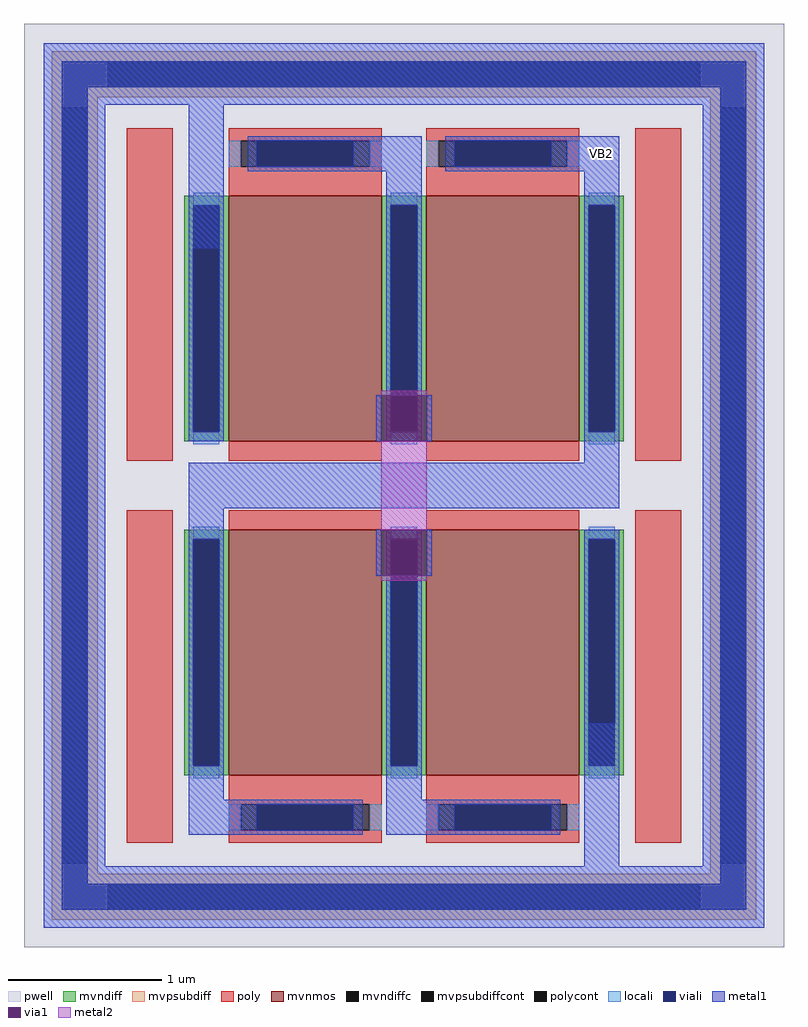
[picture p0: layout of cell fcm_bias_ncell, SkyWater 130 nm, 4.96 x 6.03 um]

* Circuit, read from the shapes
.subckt fcm_bias_ncell VB2
XM1 n1 VB2 VB2 VSUBS sky130_fd_pr__nfet_g5v0d10v5 w=1.6 l=1 m=2
XM2 n1 n1 VSUBS VSUBS sky130_fd_pr__nfet_g5v0d10v5 w=1.6 l=1 m=2
.ends

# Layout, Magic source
magic
tech sky130A
magscale 1 2
<< pwell >>
rect -36 -571 956 635
<< mvpsubdiffcont >>
rect 73 552 847 586
rect 13 -462 47 526
rect 873 -462 907 526
rect 73 -522 847 -488
<< viali >>
rect 13 552 73 586
rect 73 552 847 586
rect 847 552 907 586
rect 13 526 47 552
rect 13 -462 47 526
rect 13 -488 47 -462
rect 873 526 907 552
rect 873 -462 907 526
rect 873 -488 907 -462
rect 13 -522 73 -488
rect 73 -522 847 -488
rect 847 -522 907 -488
<< metal1 >>
rect 424 90 430 150
rect 490 90 496 150
rect 424 -86 430 -26
rect 490 -86 496 -26
<< via1 >>
rect 430 90 490 150
rect 430 -86 490 -26
<< metal2 >>
rect 430 150 490 156
rect 430 -26 490 90
rect 430 -92 490 -86
use fcm_bias_ncell_2  fcm_bias_ncell_2_0 ~/10-bit-DAC/mag
transform 1 0 188 0 1 31
box -198 -29 742 578
use fcm_bias_ncell_2  fcm_bias_ncell_2_1
transform -1 0 732 0 -1 33
box -198 -29 742 578
<< labels >>
flabel metal1 s 695 442 741 488 0 FreeSans 320 0 0 0 VB2
<< end >>

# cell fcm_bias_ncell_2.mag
magic
tech sky130A
magscale 1 2
<< mvpsubdiff >>
rect -188 508 732 568
rect -188 -29 -128 508
rect 672 -29 732 508
<< poly >>
rect -90 33 -30 467
rect 574 33 634 467
<< locali >>
rect -175 521 719 555
rect -175 -29 -141 521
rect 685 -29 719 521
<< metal1 >>
rect -198 498 742 578
rect -198 -29 -118 498
rect -9 311 37 498
rect 218 411 295 457
rect 476 411 553 457
rect 249 370 295 411
rect 507 370 553 411
rect 507 31 553 59
rect -9 -29 553 31
rect 662 -29 742 498
use sky130_fd_pr__nfet_g5v0d10v5_SKZWVA  sky130_fd_pr__nfet_g5v0d10v5_SKZWVA_0
transform 1 0 272 0 1 250
box -287 -217 287 217
<< end >>

# cell sky130_fd_pr__nfet_g5v0d10v5_SKZWVA: kit device sky130_fd_pr__nfet_g5v0d10v5, w 1.6 l 1 m 1 nf 2 diffcov 100 polycov 100 guard 0 glc 1 grc 1 gtc 1 gbc 1 tbcov 100 rlcov 100 topc 1 botc 0 poverlap 0 doverlap 1 lmin 0.50 wmin 0.42 compatible {sky130_fd_pr__nfet_01v8 sky130_fd_pr__nfet_01v8_lvt sky130_fd_bs_flash__special_sonosfet_star sky130_fd_pr__nfet_g5v0d10v5 sky130_fd_pr__nfet_05v0_nvt sky130_fd_pr__nfet_03v3_nvt} full_metal 1 viasrc 100 viadrn 100 viagate 75 viagb 0 viagr 0 viagl 0 viagt 0
